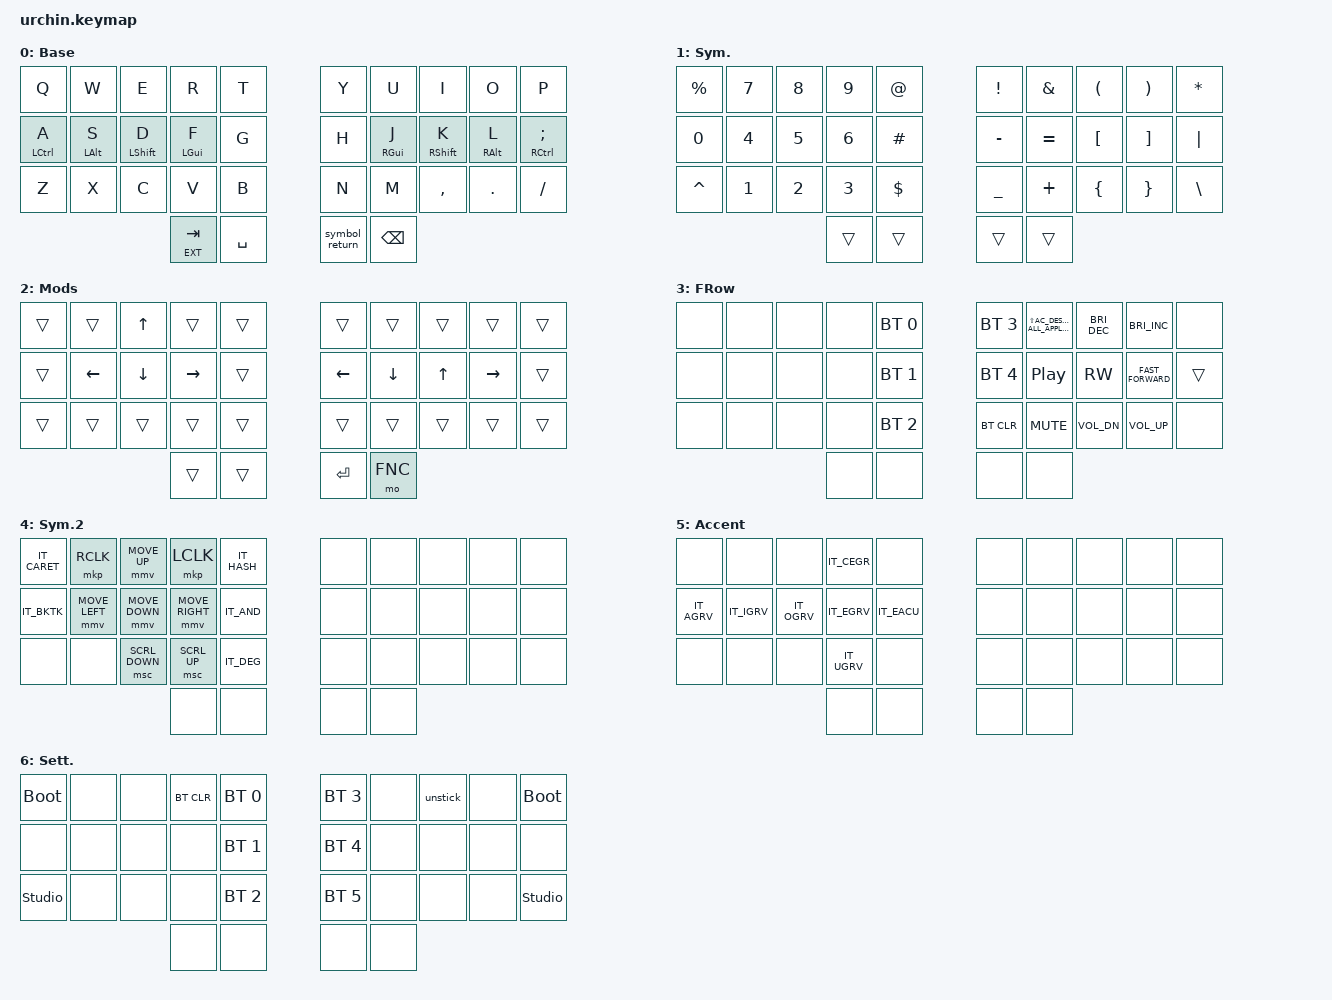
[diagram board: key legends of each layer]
/*
 * Copyright (c) 2020 duckyb
 *
 * SPDX-License-Identifier: MIT
 */

#include <behaviors.dtsi>
#include <dt-bindings/zmk/bt.h>
#include <dt-bindings/zmk/keys.h>
#include <dt-bindings/zmk/pointing.h>
#include "keymap_italian.h"

// Layer definitions

#define BASE 0
#define SYM 1
#define EXT 2
#define FNC 3
#define SYM2 4
#define ACCENT 5
#define SETTINGS 6

// -----------------

&sk {
    // don't release mods on other mods presses

    ignore-modifiers;
};

/ {
    behaviors {
        // Enables holding the first mod-tap key
        // by performing a tap-release-hold sequence.
        // To use it: "&qt KEYCODE1 KEYCODE2"

        qt: quick_tap {
            compatible = "zmk,behavior-hold-tap";
            label = "QUICK_TAP";
            #binding-cells = <2>;
            flavor = "hold-preferred";
            tapping-term-ms = <200>;
            quick-tap-ms = <200>;
            bindings = <&kp>, <&kp>;
        };

        symbol_return: symbol_return {
            compatible = "zmk,behavior-tap-dance";
            label = "SYMBOL_RETURN";
            #binding-cells = <0>;
            bindings = <&mo 1>, <&kp ENTER>;
        };

        dang_hm: dang_hm {
            compatible = "zmk,behavior-hold-tap";
            label = "DANG_HM";
            bindings = <&kp>, <&kp>;

            #binding-cells = <2>;
            tapping-term-ms = <200>;
            quick-tap-ms = <150>;
            flavor = "tap-preferred";
        };
    };

    macros {
        // sometimes my device thinks a modifier is being held down
        // pressing all modifiers fixes it.

        unstick: unstick {
            label = "ZM_unstick";
            compatible = "zmk,behavior-macro";
            #binding-cells = <0>;
            bindings = <&kp LSHIFT &kp RSHIFT &kp LCTRL &kp RCTRL &kp LALT &kp RALT &kp LGUI &kp RGUI>;
        };
    };

    combos {
        compatible = "zmk,combos";

        // both right thumb keys
        // internal-left & external-right thumb keys
        // both left thumb keys
        // left index & middle fingers (home-row)
        // hold control & space for Adobe workflow

        single_quote {
            bindings = <&kp SINGLE_QUOTE>;
            key-positions = <16 17>;
        };

        double_quote {
            bindings = <&kp DOUBLE_QUOTES>;
            key-positions = <6 7>;
        };

        esc {
            bindings = <&kp ESC>;
            key-positions = <12 11>;
        };

        grave {
            bindings = <&kp GRAVE>;
            key-positions = <13 12>;
        };

        tilde {
            bindings = <&kp TILDE>;
            key-positions = <2 3>;
        };

        caps_word {
            bindings = <&caps_word>;
            key-positions = <22 23>;
        };

        homerow_app {
            bindings = <&kp LS(LG(SPACE))>;
            key-positions = <17 18>;
        };

        reset_left {
            bindings = <&sys_reset>;
            key-positions = <4 14 24>;
        };

        right_reset {
            bindings = <&sys_reset>;
            key-positions = <5 15 25>;
        };

        mouse_layer {
            bindings = <&mo 4>;
            key-positions = <30 31>;
        };
    };

    keymap {
        compatible = "zmk,keymap";

        // Base alpha layer

        default_layer {
            label = "Base";
            bindings = <
&kp Q             &kp W                &kp E                  &kp R                &kp T      &kp Y           &kp U                 &kp I                   &kp O                 &kp P
&dang_hm LCTRL A  &dang_hm LEFT_ALT S  &dang_hm LEFT_SHIFT D  &dang_hm LEFT_GUI F  &kp G      &kp H           &dang_hm RIGHT_GUI J  &dang_hm RIGHT_SHIFT K  &dang_hm RIGHT_ALT L  &dang_hm RCTRL SEMICOLON
&kp Z             &kp X                &kp C                  &kp V                &kp B      &kp N           &kp M                 &kp COMMA               &kp DOT               &kp SLASH
                                                              &lt EXT TAB          &kp SPACE  &symbol_return  &kp BACKSPACE
            >;
        };

        // Numbers and high frequency symbols

        sym_layer {
            label = "Sym.";
            bindings = <
&kp PERCENT  &kp N7        &kp N8        &kp N9        &kp AT_SIGN  &kp EXCLAMATION  &kp AMPERSAND  &kp LEFT_PARENTHESIS  &kp RIGHT_PARENTHESIS  &kp ASTERISK
&kp N0       &kp NUMBER_4  &kp N5        &kp NUMBER_6  &kp HASH     &kp MINUS        &kp EQUAL      &kp LEFT_BRACKET      &kp RIGHT_BRACKET      &kp PIPE
&kp CARET    &kp NUMBER_1  &kp NUMBER_2  &kp NUMBER_3  &kp DOLLAR   &kp UNDERSCORE   &kp PLUS       &kp LEFT_BRACE        &kp RIGHT_BRACE        &kp BACKSLASH
                                         &trans        &trans       &trans           &trans
            >;
        };

        // Main modifiers and arrow keys

        ext_layer {
            label = "Mods";
            bindings = <
&trans  &trans          &kp UP_ARROW    &trans     &trans  &trans     &trans    &trans        &trans     &trans
&trans  &kp LEFT_ARROW  &kp DOWN_ARROW  &kp RIGHT  &trans  &kp LEFT   &kp DOWN  &kp UP_ARROW  &kp RIGHT  &trans
&trans  &trans          &trans          &trans     &trans  &trans     &trans    &trans        &trans     &trans
                                        &trans     &trans  &kp ENTER  &mo FNC
            >;
        };

        // Function keys with modifiers

        fnc_layer {
            label = "FRow";
            bindings = <
&none  &none  &none  &none  &bt BT_SEL 0  &bt BT_SEL 3  &kp LS(C_AC_DESKTOP_SHOW_ALL_APPLICATIONS)  &kp C_BRI_DEC  &kp C_BRIGHTNESS_INC  &none
&none  &none  &none  &none  &bt BT_SEL 1  &bt BT_SEL 4  &kp C_PP                                    &kp C_RW       &kp C_FAST_FORWARD    &trans
&none  &none  &none  &none  &bt BT_SEL 2  &bt BT_CLR    &kp C_MUTE                                  &kp C_VOL_DN   &kp C_VOLUME_UP       &none
                     &none  &none         &none         &none
            >;
        };

        // Low frequency symbols.

        Mouse {
            label = "Sym.2";
            bindings = <
&kp IT_CARET  &mkp RCLK       &mmv MOVE_UP    &mkp LCLK        &kp IT_HASH  &none  &none  &none  &none  &none
&kp IT_BKTK   &mmv MOVE_LEFT  &mmv MOVE_DOWN  &mmv MOVE_RIGHT  &kp IT_AND   &none  &none  &none  &none  &none
&none         &none           &msc SCRL_DOWN  &msc SCRL_UP     &kp IT_DEG   &none  &none  &none  &none  &none
                                              &none            &none        &none  &none
            >;
        };

        // Used to type regional accents.

        accent_layer {
            label = "Accent";
            bindings = <
&none        &none        &none        &kp IT_CEGR  &none        &none  &none  &none  &none  &none
&kp IT_AGRV  &kp IT_IGRV  &kp IT_OGRV  &kp IT_EGRV  &kp IT_EACU  &none  &none  &none  &none  &none
&none        &none        &none        &kp IT_UGRV  &none        &none  &none  &none  &none  &none
                                       &none        &none        &none  &none
            >;
        };

        // Used to change the keyboard's settings.

        settings_layer {
            label = "Sett.";
            bindings = <
&bootloader     &none  &none  &bt BT_CLR  &bt BT_SEL 0  &bt BT_SEL 3  &none  &unstick  &none  &bootloader
&none           &none  &none  &none       &bt BT_SEL 1  &bt BT_SEL 4  &none  &none     &none  &none
&studio_unlock  &none  &none  &none       &bt BT_SEL 2  &bt BT_SEL 5  &none  &none     &none  &studio_unlock
                              &none       &none         &none         &none
            >;
        };
    };
};
